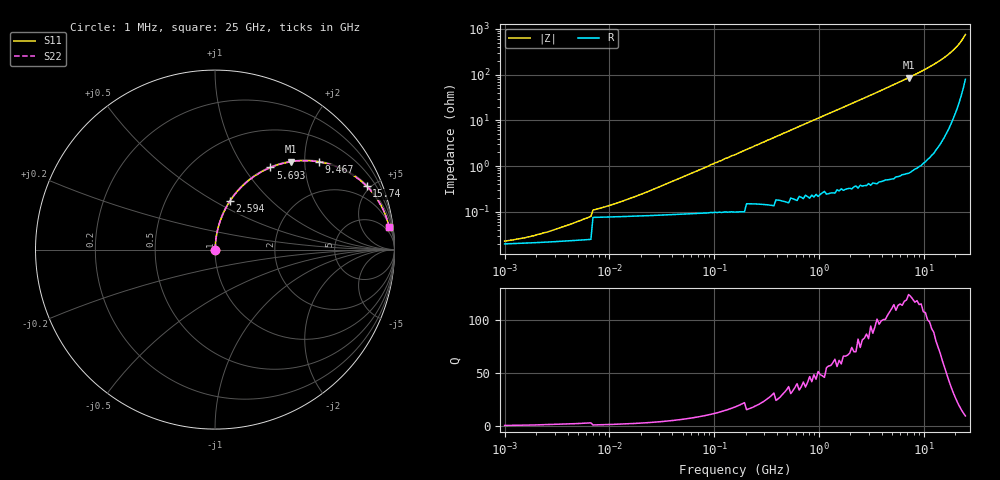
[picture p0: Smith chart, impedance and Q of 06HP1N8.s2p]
# MHz S MA R 50
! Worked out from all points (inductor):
!   220 points, 1 MHz to 25 GHz, reference 50 ohm
!   read as one part in series: L = 1.8 nH near 6.658 MHz
!   highest Q = 119 at 7.173 GHz (marker M1), where L = 1.9 nH
!   S11 on the Smith chart (normalised r, x): 1 MHz: 1.00, +0.00; 2.594 GHz: 1.01, +0.59; 5.693 GHz: 1.01, +1.33; 9.467 GHz: 1.02, +2.35; 15.74 GHz: 1.08, +4.75; 25 GHz: 3, +15
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1  0.0004107 16.0  1 -0.0  1 -0.0  0.0004107 16.0
2.521  0.0005184 33.3  1 -0.0  1 -0.0  0.0005184 33.3
5.534  0.0007901 52.3  1 -0.0  1 -0.0  0.0007901 52.3
11.597  0.001422 67.1  0.999 -0.1  0.999 -0.1  0.001422 67.1
30.624  0.003529 78.5  0.999 -0.2  0.999 -0.2  0.003529 78.5
88.705  0.01 84.1  0.999 -0.6  0.999 -0.6  0.01 84.1
92.903  0.011 84.2  0.999 -0.6  0.999 -0.6  0.011 84.2
97.299  0.011 84.3  0.999 -0.6  0.999 -0.6  0.011 84.3
101.904  0.012 84.5  0.999 -0.7  0.999 -0.7  0.012 84.5
117.068  0.013 84.8  0.999 -0.8  0.999 -0.8  0.013 84.8
161.812  0.018 85.3  0.999 -1.0  0.999 -1.0  0.018 85.3
854.988  0.096 83.2  0.993 -5.5  0.993 -5.5  0.096 83.2
1489.166  0.166 79.5  0.983 -9.6  0.983 -9.6  0.166 79.5
2593.738  0.282 72.9  0.956 -16.4  0.956 -16.4  0.282 72.9
4731.414  0.478 60.9  0.874 -28.6  0.874 -28.6  0.478 60.9
5692.704  0.552 56.0  0.829 -33.5  0.829 -33.5  0.552 56.0
7173.452  0.648 49.2  0.757 -40.4  0.757 -40.4  0.648 49.2
9467.16  0.759 40.1  0.645 -49.4  0.645 -49.4  0.759 40.1
12494.28  0.855 30.6  0.51 -58.7  0.51 -58.7  0.855 30.6
15744.21  0.916 22.7  0.386 -66.3  0.386 -66.3  0.916 22.7
20778.41  0.963 13.4  0.232 -74.2  0.232 -74.2  0.963 13.4
25000  0.978 7.4  0.129 -76.7  0.129 -76.7  0.978 7.4
